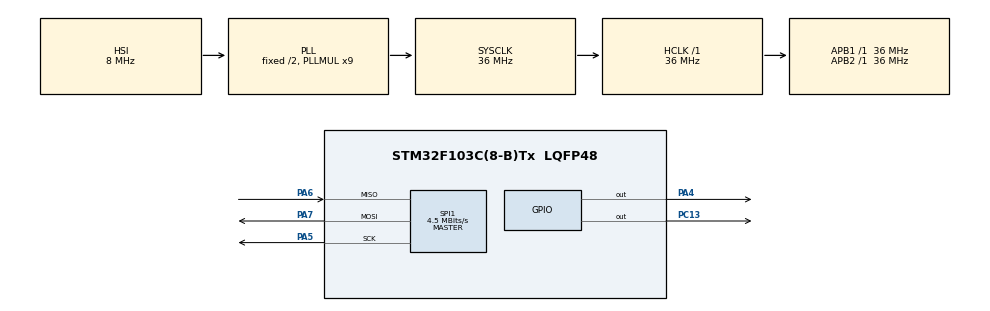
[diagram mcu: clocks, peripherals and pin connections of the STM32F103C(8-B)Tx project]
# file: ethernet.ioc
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Mcu.Family=STM32F1
Mcu.Name=STM32F103C(8-B)Tx
Mcu.Package=LQFP48
NVIC.PriorityGroup=NVIC_PRIORITYGROUP_4
PA13.Mode=Serial_Wire
PA13.Signal=SYS_JTMS-SWDIO
PA14.Mode=Serial_Wire
PA14.Signal=SYS_JTCK-SWCLK
PA4.Signal=GPIO_Output
PA5.Mode=Full_Duplex_Master
PA5.Signal=SPI1_SCK
PA6.Mode=Full_Duplex_Master
PA6.Signal=SPI1_MISO
PA7.Mode=Full_Duplex_Master
PA7.Signal=SPI1_MOSI
PC13-TAMPER-RTC.Signal=GPIO_Output
ProjectManager.HeapSize=0x200
ProjectManager.StackSize=0x400
ProjectManager.TargetToolchain=MDK-ARM V5.32
RCC.AHBFreq_Value=36000000
RCC.APB1Freq_Value=36000000
RCC.APB1TimFreq_Value=36000000
RCC.APB2Freq_Value=36000000
RCC.APB2TimFreq_Value=36000000
RCC.HCLKFreq_Value=36000000
RCC.PLLMUL=RCC_PLL_MUL9
RCC.SYSCLKFreq_VALUE=36000000
RCC.SYSCLKSource=RCC_SYSCLKSOURCE_PLLCLK
RCC.USBFreq_Value=36000000
SPI1.BaudRatePrescaler=SPI_BAUDRATEPRESCALER_8
SPI1.CalculateBaudRate=4.5 MBits/s
SPI1.Direction=SPI_DIRECTION_2LINES
SPI1.Mode=SPI_MODE_MASTER
SPI1.VirtualType=VM_MASTER
board=custom

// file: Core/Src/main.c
/* USER CODE BEGIN Header */
/**
  ******************************************************************************
  * @file           : main.c
  * @brief          : Main program body
  ******************************************************************************
  * @attention
  *
  * Copyright (c) 2025 STMicroelectronics.
  * All rights reserved.
  *
  * This software is licensed under terms that can be found in the LICENSE file
  * in the root directory of this software component.
  * If no LICENSE file comes with this software, it is provided AS-IS.
  *
  ******************************************************************************
  */
/* USER CODE END Header */
#include "main.h"

/* USER CODE BEGIN Includes */
#include <string.h>
#include <stdbool.h>
#include <stdio.h>
#include <stdlib.h>
#include <math.h>
#include "socket.h"
#include "dhcp.h"
#include "httpServer.h"
#include "MQTTClient.h"
#include "mqtt_interface.h"
#include "dns.h"

/* USER CODE END Includes */

/* USER CODE BEGIN PTD */
		#define DHCP_SOCKET     0
		#define DNS_SOCKET      6
		#define HTTP_SOCKET     2
		#define SOCK_TCPS       0
		#define SOCK_UDPS       1
		#define PORT_TCPS       5000
		#define PORT_UDPS       3000
		#define MAX_HTTPSOCK    6
		#define SOCKET_PING 		2
/* USER CODE END PTD */

/* USER CODE BEGIN PM */
	int check[6];
	int check1;
	int8_t sock;
	uint8_t status;
	int8_t ret=2;
	int dem =0;
	char rep[10];
	//IP v� port cua server MQTT
	uint8_t server_ip[4] ;
	int SERVER_PORT  = 1883;
	//IP v� port cua goolge
	//uint8_t server_ip[4] = {8, 8, 8, 8};
	//#define SERVER_PORT 80
	uint8_t tcp_socket = 0;
	int ret_mqtt;
	int ret_mqtt1;
	unsigned char broker_mqtt[] = "broker.hivemq.com";
	char topic_send[] = "your_topic_send";
	char topic_recv[] = "your_topic_recv";
	char *mes_recv1 ;
	char mes_recv[256];
	//---------DNS de truy xuat IP--------------------
	uint8_t dns_server[4] = {8, 8, 8, 8};  // Google DNS
	uint8_t tx_buf[512];  // ho?c �t nh?t l� 256 byte (khuy?n ngh? 512)
	//
/* USER CODE END PM */

SPI_HandleTypeDef hspi1;

void SystemClock_Config(void);
static void MX_GPIO_Init(void);
static void MX_SPI1_Init(void);

/* USER CODE BEGIN 0 */
	//---------struct du lieu --------------
	wiz_NetInfo net_info = {
			.mac  = { 0xDE, 0xAD, 0xBE, 0xEF, 0xFE, 0xED },
			.dhcp = NETINFO_DHCP
	};
	MQTTClient client;
	Network network;
	struct Parametter_Uart{
		int baudrate;
		uint8_t stop_bit;
		uint8_t Parity_En;
		uint8_t Parity_Se;
		uint16_t Length;

	}Para_Uart;

	//----------watch dog ----
//	void MX_IWDG_Init(void)
//	{
//    hiwdg.Instance = IWDG;
//    hiwdg.Init.Prescaler = IWDG_PRESCALER_64; // chia LSI (~40kHz)
//    hiwdg.Init.Reload = 1875;  // timeout = 1875 � 64 / 40_000 = ~3 gi�y
//    if (HAL_IWDG_Init(&hiwdg) != HAL_OK)
//    {
//        Error_Handler();
//    }
//	}
	//--------------function-------------------
	unsigned char sendbuf[512], readbuf[512];  // buffer cho MQTT

	void wizchipSelect(void) {
			HAL_GPIO_WritePin(GPIOA, GPIO_PIN_4, GPIO_PIN_RESET);
	}

	void wizchipUnselect(void) {
			HAL_GPIO_WritePin(GPIOA, GPIO_PIN_4, GPIO_PIN_SET);
	}

	void wizchipReadBurst(uint8_t* buff, uint16_t len) {
			HAL_SPI_Receive(&hspi1, buff, len, HAL_MAX_DELAY);
	}

	void wizchipWriteBurst(uint8_t* buff, uint16_t len) {
			HAL_SPI_Transmit(&hspi1, buff, len, HAL_MAX_DELAY);
	}

	uint8_t wizchipReadByte(void) {
			uint8_t byte;
			wizchipReadBurst(&byte, sizeof(byte));
			return byte;
	}

	void wizchipWriteByte(uint8_t byte) {
			wizchipWriteBurst(&byte, sizeof(byte));
	}

	volatile bool ip_assigned = false;

	void Callback_IPAssigned(void) {
			ip_assigned = true;
	}

	void Callback_IPConflict(void) {
			ip_assigned = false;
	}

	uint8_t dhcp_buffer[1024];
	uint8_t dns_buffer[1024];
	void W5500Init() {
			// Register W5500 callbacks
			reg_wizchip_cs_cbfunc(wizchipSelect, wizchipUnselect);
			reg_wizchip_spi_cbfunc(wizchipReadByte, wizchipWriteByte);
			reg_wizchip_spiburst_cbfunc(wizchipReadBurst, wizchipWriteBurst);

			uint8_t rx_tx_buff_sizes[] = {2, 2, 2, 2, 2, 2, 2, 2};
			wizchip_init(rx_tx_buff_sizes, rx_tx_buff_sizes);

			// set MAC address before using DHCP
			setSHAR(net_info.mac);
			DHCP_init(DHCP_SOCKET, dhcp_buffer);

			reg_dhcp_cbfunc(
					Callback_IPAssigned,
					Callback_IPAssigned,
					Callback_IPConflict
			);

			uint32_t ctr = 10000;
			while((!ip_assigned) && (ctr > 0)) {
					DHCP_run();
					ctr--;
			}
			if(!ip_assigned) {
					return;
			}

			getIPfromDHCP(net_info.ip);
			getGWfromDHCP(net_info.gw);
			getSNfromDHCP(net_info.sn);

			wizchip_setnetinfo(&net_info);
	}
	void get_ip(unsigned char *broker)
	{
		//tao socket DNS
		DNS_init(DNS_SOCKET, tx_buf);  // tx_buf l� buffer 512 byte
		//g�n dia chi IP cua broker vao bien server_ip
		DNS_run(dns_server, broker, server_ip);
	}
//	int w5500_read(Network* n, unsigned char* buffer, int len, long timeout_ms) {
//			return recv(n->my_socket, buffer, len);
//	}

	int w5500_read(Network* n, unsigned char* buffer, int len, long timeout_ms)
	{
    uint32_t tickstart = HAL_GetTick();
    uint16_t recv_len = 0;
		//check[5] = 0;

    while (recv_len == 0) {
        recv_len = getSn_RX_RSR(n->my_socket);
        if (HAL_GetTick() - tickstart > 1000) {
            return 0;  // timeout
        }
    }

    if(recv_len > 0) return recv(n->my_socket, buffer, len);
		return 1;
	}
//	int w5500_write(Network* n, unsigned char* buffer, int len, long timeout_ms) {
//			return send(n->my_socket, buffer, len);
//	}
	int w5500_write(Network* n, unsigned char* buffer, int len, long timeout_ms) {
			uint32_t tick_start = HAL_GetTick();
			while (getSn_TX_FSR(n->my_socket) < len) {
					if ((HAL_GetTick() - tick_start) > 1000)
							return -1;
			}
			return send(n->my_socket, buffer, len);
	}

	int8_t connectMQTT(Network *n, uint8_t sock, uint8_t *ip, uint16_t port)
	{
			n->my_socket = sock;

			// G�n h�m d?c / ghi cho network
			n->mqttread = w5500_read;
			n->mqttwrite = w5500_write;

			// M? socket TCP
			int8_t s = socket(sock, Sn_MR_TCP, 50000, 0);
			if (s != sock) return -1;

			ret = connect(sock, ip, port);
			if (ret != SOCK_OK) return -2;

			// �?i d?n khi k?t n?i th�nh c�ng
			uint32_t t = HAL_GetTick();
			while (getSn_SR(sock) != SOCK_ESTABLISHED) {
					if (HAL_GetTick() - t > 3000) return -3; // timeout
			}

			return 1; // OK
	}
	void connect_to_server()
	{
		connectMQTT(&network, tcp_socket, server_ip, SERVER_PORT);

		MQTTClientInit(&client, &network, 3000, sendbuf, sizeof(sendbuf), readbuf, sizeof(readbuf));
		MQTTPacket_connectData data = MQTTPacket_connectData_initializer;
		data.MQTTVersion = 3;
		//data.keepAliveInterval = 30;
		data.clientID.cstring = "STM32_Client";
		data.username.cstring = "your_username";
		data.password.cstring = "your_password";

		check[0] = MQTTConnect(&client, &data);
	}
	void pub_message(char *topic, char *mes)
	{
		MQTTMessage message;
		message.qos = QOS0;  // ho?c QOS1, QOS2 t�y broker h? tr?
		message.retained = 0;
		message.dup = 0;
		message.payload = mes;
		message.payloadlen = strlen(mes);

		MQTTPublish(&client, topic , &message);
	}
	void UART1_config()
	{
		//config UART
		RCC -> APB2ENR |= (1<<2)|(1<<14); //EN CLK USART1, PA
		GPIOA -> CRH &= ~(0xFF << 4); //clear PA9,10
		GPIOA -> CRH |= (9<<4); // PA9 TX, Output AF mode
		GPIOA-> CRH |= (8<<8); // PA10 RX, Input floating mode
		//calculation and set baudrate
		uint32_t CLK_APB = HAL_RCC_GetPCLK2Freq();
		float brr = (float)CLK_APB/(16*(float)Para_Uart.baudrate);
		int div_man = (int)brr;
		int div_fra = round(brr*10) - div_man*10;
		USART1->BRR = (div_man << 4) | (div_fra<<0);
		//set stop bit
		if(Para_Uart.stop_bit == 1) USART1 -> CR2 &= ~(0b11 << 12); //bit 00 12:13
		else if(Para_Uart.stop_bit == 2) USART1 -> CR2 |= (0b10 << 12);
//		//en parity
//		if(Para_Uart.Parity_En == 1) USART1 -> CR1 |= (1<<10);
//		else if(Para_Uart.Parity_En == 0) USART1 -> CR1 &= ~ (1<<10);
//		//select parity
//		if( Para_Uart.Parity_En == 1 && Para_Uart.Parity_Se == 1) USART1 -> CR1 |= (1<<9); //ODD
//		else if( Para_Uart.Parity_En == 1 && Para_Uart.Parity_Se == 0) USART1 -> CR1 &= ~(1<<9); //EVEN
		if(Para_Uart.Parity_Se == 0 ) USART1 -> CR1 &= ~(0b11 << 9);
		else if(Para_Uart.Parity_Se == 1 ) {USART1 -> CR1 &= ~(0b11 << 9); USART1 -> CR1 |= (0b11 << 9);}
		else if(Para_Uart.Parity_Se == 2 ) { USART1 -> CR1 &= ~(0b11 << 9); USART1 -> CR1 |= (0b10 << 9);}

		//set length
		if(Para_Uart.Length == 7) USART1 -> CR1 &= ~(1<<12); //8 bit = 7 bit data + (1bit patiry)
		else if(Para_Uart.Length == 8) USART1 -> CR1 |= (1<<12); // 9 bit = 8 bit data + (1 bit parity)

		USART1->CR1 |= (1<<2)|(1<<3)|(1<<5)|(1<<13); // enable TX, RX, USART
		NVIC->ISER[1] |= (1<<5); // enable global interrupt USART1
	}
	void check_set()
	{
			char *mes = mes_recv;
			char *token;
			int dem = 0;

			token=strtok(mes_recv,":");
			while(token != NULL )
			{
				++dem;
				switch (dem) {
					case 2:
						Para_Uart.baudrate = atoi(token);
						break;
					case 3:
						Para_Uart.stop_bit = atoi(token);
						break;
//					case 4:
//						Para_Uart.Parity_En = atoi(token);
//						break;
					case 4:
						Para_Uart.Parity_Se = atoi(token);
						break;
					case 5:
						Para_Uart.Length = atoi(token);
						break;
				}
				token = strtok(NULL, ":");
			}
			UART1_config();
  }
	void send_char (char data)
	{
		while ((USART1->SR & (1<<6)) ==0) {}
		USART1-> DR = data;
	}
	void send_data (char *str)  //gui chuoi den terminal
	{while (*str) send_char(*str++);
	{
	// get a byte data from USART
	} }
	void messageArrived(MessageData* md)
	{
    MQTTMessage* message = md->message;

    memset(mes_recv, 0, sizeof(mes_recv));
    memcpy(mes_recv, message->payload, message->payloadlen);
    mes_recv[message->payloadlen] = '\0';

//
		if(strstr(mes_recv, "COM_SET" ) != NULL ) {check_set(); pub_message(topic_recv, "OK");}
		else {send_data(mes_recv); sprintf(rep ,"OK %d", dem++); pub_message(topic_recv, rep );}
		//else if(Para_Uart.baudrate != 0) {send_data(mes_recv); sprintf(rep ,"OK %d", dem++); pub_message(topic_recv, rep );}
		//else pub_message(topic_recv, "CHUA SET UART");
//		else 	{sprintf(rep ,"OK %d", dem++); pub_message(topic_recv, rep );}
	}
	void mesduytri(MessageData *md)
	{
		MQTTMessage* message = md->message;
	}
	void UART1_Init()
	{
		//config UART
		RCC -> APB2ENR |= (1<<2)|(1<<14); //EN CLK USART1, PA
		GPIOA -> CRH &= ~(0xFF << 4); //clear PA9,10
		GPIOA -> CRH |= (9<<4); // PA9 TX, Output AF mode
		GPIOA-> CRH |= (8<<8); // PA10 RX, Input floating mode
		//
		USART1->BRR = (234 << 4) | (4 <<0); // baudrate 9600
		USART1->CR1 |= (1<<2)|(1<<3)|(1<<5)|(1<<13); // enable TX, RX, USART
		NVIC->ISER[1] |= (1<<5); // enable global interrupt USART1
	}
	char rx_data[256];
	int i=0;
	void USART1_IRQHandler (void)
	{
		rx_data[i] = USART1 -> DR;
		//-------------YC1----------------- //gui tu terminal den vxl, gui so 1 thi led don sang, 0 led don tat
		//if(USART1 -> DR == '1') {GPIOB -> ODR &= ~(1<<11);}
		//else if(USART1 -> DR == '0') {GPIOB -> ODR |= (1<<11);}
		//------------------------------------
		i++;
		if(i==5) {i=0; pub_message(topic_recv, "CONNECTING");
		}
	}

/* USER CODE END 0 */

int main(void)
{

  /* MCU Configuration--------------------------------------------------------*/

  /* Reset of all peripherals, Initializes the Flash interface and the Systick. */
  HAL_Init();

  /* Configure the system clock */
  SystemClock_Config();

  /* Initialize all configured peripherals */
  MX_GPIO_Init();
  MX_SPI1_Init();
  /* USER CODE BEGIN 2 */
	check[0] = 2;
	W5500Init();
//	get_ip(broker_mqtt);
//	connect_to_server();
//	MQTTSubscribe(&client, topic_send, QOS0, messageArrived);
	//MQTTSubscribe(&client, "duytri", QOS0,
	//pub_message(topic_recv,"HELLO FROM STM");
  /* USER CODE END 2 */

  /* Infinite loop */
  /* USER CODE BEGIN WHILE */
	//MX_IWDG_Init();  // B?t d?u watchdog
	int last,now;
  while (1)
  {
//		last = HAL_GetTick();
//		//check1++;
//		ret_mqtt = getSn_SR(tcp_socket);
//		if(ret_mqtt == 0x17 ) {ret = MQTTYield(&client, 1000);} // nhan v� xu l� message tu broker
//		//HAL_IWDG_Refresh(&hiwdg);}
//		//HAL_IWDG_Refresh(&hiwdg);
//		if(ret != SUCCESS ) { check[3] = 5; }
//		//else pub_message(topic_send,"CONNECTING");
//		now = HAL_GetTick();
//		check[4] = client.isconnected;
//		check[1]++;
//		while(now - last < 4000 ) {now = HAL_GetTick();} //delay 1s
//		 pub_message(topic_send,"a");
////		check1++;
    /* USER CODE END WHILE */

	}
}

void SystemClock_Config(void)
{
  RCC_OscInitTypeDef RCC_OscInitStruct = {0};
  RCC_ClkInitTypeDef RCC_ClkInitStruct = {0};

  /** Initializes the RCC Oscillators according to the specified parameters
  * in the RCC_OscInitTypeDef structure.
  */
  RCC_OscInitStruct.OscillatorType = RCC_OSCILLATORTYPE_HSI;
  RCC_OscInitStruct.HSIState = RCC_HSI_ON;
  RCC_OscInitStruct.HSICalibrationValue = RCC_HSICALIBRATION_DEFAULT;
  RCC_OscInitStruct.PLL.PLLState = RCC_PLL_ON;
  RCC_OscInitStruct.PLL.PLLSource = RCC_PLLSOURCE_HSI_DIV2;
  RCC_OscInitStruct.PLL.PLLMUL = RCC_PLL_MUL9;
  if (HAL_RCC_OscConfig(&RCC_OscInitStruct) != HAL_OK)
  {
    Error_Handler();
  }

  /** Initializes the CPU, AHB and APB buses clocks
  */
  RCC_ClkInitStruct.ClockType = RCC_CLOCKTYPE_HCLK|RCC_CLOCKTYPE_SYSCLK
                              |RCC_CLOCKTYPE_PCLK1|RCC_CLOCKTYPE_PCLK2;
  RCC_ClkInitStruct.SYSCLKSource = RCC_SYSCLKSOURCE_PLLCLK;
  RCC_ClkInitStruct.AHBCLKDivider = RCC_SYSCLK_DIV1;
  RCC_ClkInitStruct.APB1CLKDivider = RCC_HCLK_DIV1;
  RCC_ClkInitStruct.APB2CLKDivider = RCC_HCLK_DIV1;

  if (HAL_RCC_ClockConfig(&RCC_ClkInitStruct, FLASH_LATENCY_1) != HAL_OK)
  {
    Error_Handler();
  }
}

static void MX_SPI1_Init(void)
{

  /* SPI1 parameter configuration*/
  hspi1.Instance = SPI1;
  hspi1.Init.Mode = SPI_MODE_MASTER;
  hspi1.Init.Direction = SPI_DIRECTION_2LINES;
  hspi1.Init.DataSize = SPI_DATASIZE_8BIT;
  hspi1.Init.CLKPolarity = SPI_POLARITY_LOW;
  hspi1.Init.CLKPhase = SPI_PHASE_1EDGE;
  hspi1.Init.NSS = SPI_NSS_SOFT;
  hspi1.Init.BaudRatePrescaler = SPI_BAUDRATEPRESCALER_8;
  hspi1.Init.FirstBit = SPI_FIRSTBIT_MSB;
  hspi1.Init.TIMode = SPI_TIMODE_DISABLE;
  hspi1.Init.CRCCalculation = SPI_CRCCALCULATION_DISABLE;
  hspi1.Init.CRCPolynomial = 10;
  if (HAL_SPI_Init(&hspi1) != HAL_OK)
  {
    Error_Handler();
  }

}

static void MX_GPIO_Init(void)
{
  GPIO_InitTypeDef GPIO_InitStruct = {0};

  /* GPIO Ports Clock Enable */
  __HAL_RCC_GPIOC_CLK_ENABLE();
  __HAL_RCC_GPIOA_CLK_ENABLE();

  /*Configure GPIO pin Output Level */
  HAL_GPIO_WritePin(GPIOC, GPIO_PIN_13, GPIO_PIN_RESET);

  /*Configure GPIO pin Output Level */
  HAL_GPIO_WritePin(GPIOA, GPIO_PIN_4, GPIO_PIN_RESET);

  /*Configure GPIO pin : PC13 */
  GPIO_InitStruct.Pin = GPIO_PIN_13;
  GPIO_InitStruct.Mode = GPIO_MODE_OUTPUT_PP;
  GPIO_InitStruct.Pull = GPIO_NOPULL;
  GPIO_InitStruct.Speed = GPIO_SPEED_FREQ_LOW;
  HAL_GPIO_Init(GPIOC, &GPIO_InitStruct);

  /*Configure GPIO pin : PA4 */
  GPIO_InitStruct.Pin = GPIO_PIN_4;
  GPIO_InitStruct.Mode = GPIO_MODE_OUTPUT_PP;
  GPIO_InitStruct.Pull = GPIO_NOPULL;
  GPIO_InitStruct.Speed = GPIO_SPEED_FREQ_LOW;
  HAL_GPIO_Init(GPIOA, &GPIO_InitStruct);

}

void Error_Handler(void)
{
  __disable_irq();
  while (1)
  {
  }
}
